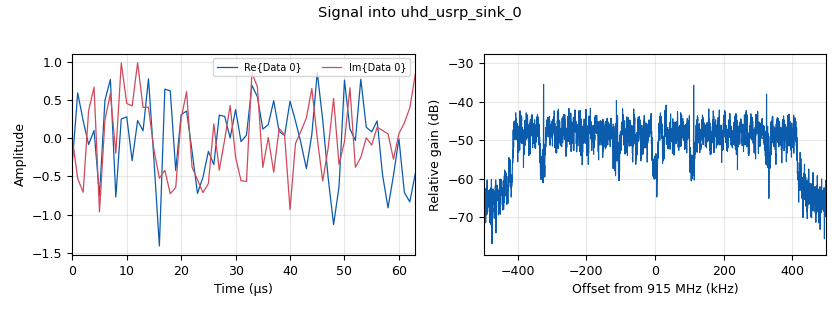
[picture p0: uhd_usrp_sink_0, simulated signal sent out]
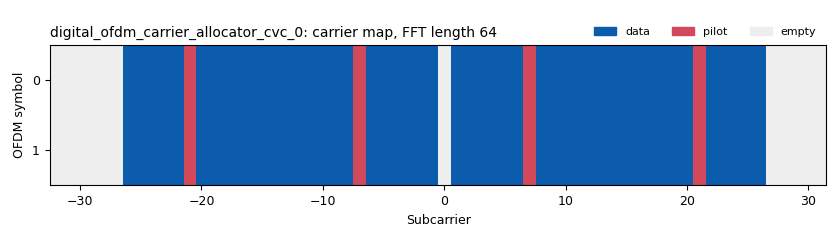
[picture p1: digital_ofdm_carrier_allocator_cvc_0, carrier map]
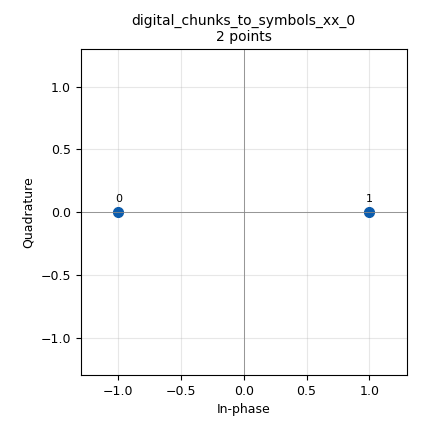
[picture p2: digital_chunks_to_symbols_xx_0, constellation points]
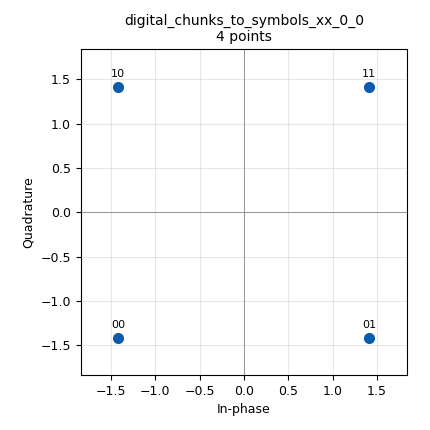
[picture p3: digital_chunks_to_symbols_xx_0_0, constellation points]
options:
  parameters:
    generate_options: qt_gui
    id: packet_ofdm_tx_RF
    output_language: python
    title: packed ofdm example RF TX
  states: {}

blocks:
- name: fft_len
  id: variable
  parameters:
    value: '64'
  states: {}
- name: freq
  id: variable
  parameters:
    value: '915000000'
  states: {}
- name: hdr_format
  id: variable
  parameters:
    value: digital.header_format_ofdm(occupied_carriers, 1, length_tag_key,)
  states: {}
- name: header_equalizer
  id: variable
  parameters:
    value: digital.ofdm_equalizer_simpledfe(fft_len, header_mod.base(), occupied_carriers, pilot_carriers, pilot_symbols)
  states: {}
- name: header_formatter
  id: variable
  parameters:
    value: digital.packet_header_ofdm(occupied_carriers, n_syms=1, len_tag_key=packet_length_tag_key, frame_len_tag_key=length_tag_key_0, bits_per_header_sym=header_mod.bits_per_symbol(), bits_per_payload_sym=payload_mod.bits_per_symbol(), scramble_header=False)
  states: {}
- name: header_mod
  id: variable
  parameters:
    value: digital.constellation_bpsk()
  states: {}
- name: length_tag_key
  id: variable
  parameters:
    value: '"packet_len"'
  states: {}
- name: length_tag_key_0
  id: variable
  parameters:
    value: '"frame_len"'
  states: {}
- name: occupied_carriers
  id: variable
  parameters:
    value: (list(range(-26, -21)) + list(range(-20, -7)) + list(range(-6, 0)) + list(range(1, 7)) + list(range(8, 21)) + list(range(22, 27)),)
  states: {}
- name: packet_len
  id: variable
  parameters:
    value: '96'
  states: {}
- name: packet_length_tag_key
  id: variable
  parameters:
    value: '"packet_len"'
  states: {}
- name: payload_equalizer
  id: variable
  parameters:
    value: digital.ofdm_equalizer_simpledfe(fft_len, payload_mod.base(), occupied_carriers, pilot_carriers, pilot_symbols, 1)
  states: {}
- name: payload_mod
  id: variable
  parameters:
    value: digital.constellation_qpsk()
  states: {}
- name: pilot_carriers
  id: variable
  parameters:
    value: ((-21, -7, 7, 21,),)
  states: {}
- name: pilot_symbols
  id: variable
  parameters:
    value: ((1, 1, 1, -1,),)
  states: {}
- name: rf_gain
  id: variable_qtgui_range
  parameters:
    label: rf gain
    start: '0'
    step: '.5'
    stop: '70'
    value: '20'
  states: {}
- name: rfbw
  id: variable
  parameters:
    value: '4000000'
  states: {}
- name: rolloff
  id: variable
  parameters:
    value: '0'
  states: {}
- name: samp_rate
  id: variable
  parameters:
    value: '1000000'
  states: {}
- name: sync_word1
  id: variable
  parameters:
    value: '[0., 0., 0., 0., 0., 0., 0., 1.41421356, 0., -1.41421356, 0., 1.41421356, 0., -1.41421356, 0., -1.41421356, 0., -1.41421356, 0., 1.41421356, 0., -1.41421356, 0., 1.41421356, 0., -1.41421356, 0., -1.41421356, 0., -1.41421356, 0., -1.41421356, 0., 1.41421356, 0., -1.41421356, 0., 1.41421356, 0., 1.41421356, 0., 1.41421356, 0., -1.41421356, 0., 1.41421356, 0., 1.41421356, 0., 1.41421356, 0., -1.41421356, 0., 1.41421356, 0., 1.41421356, 0., 1.41421356, 0., 0., 0., 0., 0., 0.]'
  states: {}
- name: sync_word2
  id: variable
  parameters:
    value: '[0, 0, 0, 0, 0, 0, -1, -1, -1, -1, 1, 1, -1, -1, -1, 1, -1, 1, 1, 1, 1, 1, -1, -1, -1, -1, -1, 1, -1, -1, 1, -1, 0, 1, -1, 1, 1, 1, -1, 1, 1, 1, -1, 1, 1, 1, 1, -1, 1, -1, -1, -1, 1, -1, 1, -1, -1, -1, -1, 0, 0, 0, 0, 0] '
  states: {}
- name: tx_pwr
  id: variable_qtgui_range
  parameters:
    label: tx power
    start: '0'
    step: '0.01'
    stop: '1'
    value: '.5'
  states: {}
- name: analog_random_source_x_0
  id: analog_random_source_x
  parameters:
    max: '255'
    min: '0'
    num_samps: '1000'
    repeat: 'True'
    type: byte
  states: {}
- name: blocks_multiply_const_vxx_0
  id: blocks_multiply_const_vxx
  parameters:
    const: '0.05'
    type: complex
  states: {}
- name: blocks_repack_bits_bb_0
  id: blocks_repack_bits_bb
  parameters:
    endianness: gr.GR_LSB_FIRST
    k: '8'
    l: payload_mod.bits_per_symbol()
    len_tag_key: length_tag_key
  states: {}
- name: blocks_repack_bits_bb_0_0
  id: blocks_repack_bits_bb
  parameters:
    endianness: gr.GR_LSB_FIRST
    k: '8'
    l: '1'
    len_tag_key: length_tag_key
  states: {}
- name: blocks_stream_to_tagged_stream_0
  id: blocks_stream_to_tagged_stream
  parameters:
    len_tag_key: length_tag_key
    packet_len: packet_len
    type: byte
  states: {}
- name: blocks_tag_gate_0
  id: blocks_tag_gate
  parameters:
    propagate_tags: 'False'
    type: complex
  states: {}
- name: blocks_tagged_stream_mux_0
  id: blocks_tagged_stream_mux
  parameters:
    lengthtagname: length_tag_key
    ninputs: '2'
    type: complex
  states: {}
- name: digital_chunks_to_symbols_xx_0
  id: digital_chunks_to_symbols_xx
  parameters:
    dimension: '1'
    in_type: byte
    out_type: complex
    symbol_table: header_mod.points()
  states: {}
- name: digital_chunks_to_symbols_xx_0_0
  id: digital_chunks_to_symbols_xx
  parameters:
    dimension: '1'
    in_type: byte
    out_type: complex
    symbol_table: payload_mod.points()
  states: {}
- name: digital_crc32_bb_0
  id: digital_crc32_bb
  parameters:
    check: 'False'
    lengthtagname: length_tag_key
    packed: 'True'
  states: {}
- name: digital_ofdm_carrier_allocator_cvc_0
  id: digital_ofdm_carrier_allocator_cvc
  parameters:
    fft_len: fft_len
    len_tag_key: length_tag_key
    occupied_carriers: occupied_carriers
    output_is_shifted: 'True'
    pilot_carriers: pilot_carriers
    pilot_symbols: pilot_symbols
    sync_words: (sync_word1, sync_word2)
  states: {}
- name: digital_ofdm_cyclic_prefixer_0
  id: digital_ofdm_cyclic_prefixer
  parameters:
    cp_len: fft_len//4
    input_size: fft_len
    rolloff: rolloff
    tagname: length_tag_key
  states: {}
- name: digital_protocol_formatter_bb_0
  id: digital_protocol_formatter_bb
  parameters:
    format: hdr_format
    len_tag_key: length_tag_key
  states: {}
- name: fft_vxx_0
  id: fft_vxx
  parameters:
    fft_size: fft_len
    forward: 'False'
    shift: 'True'
    type: complex
    window: ()
  states: {}
- name: header_bits
  id: virtual_sink
  parameters:
    stream_id: Header Bits
  states: {}
- name: import_1
  id: import
  parameters:
    imports: from gnuradio.digital.utils import tagged_streams
  states: {}
- name: uhd_usrp_sink_0
  id: uhd_usrp_sink
  parameters:
    ant0: '"TX/RX"'
    bw0: rfbw
    center_freq0: freq
    dev_addr: '"addr=192.168.10.2"'
    gain0: tx_pwr
    gain_type0: normalized
    samp_rate: samp_rate
    stream_chans: '[1]'
    sync: none
    type: fc32
  states: {}
- name: virtual_sink_0
  id: virtual_sink
  parameters:
    stream_id: Time Domain
  states: {}
- name: virtual_sink_0_0
  id: virtual_sink
  parameters:
    stream_id: Payload Bits
  states: {}
- name: virtual_sink_0_0_0
  id: virtual_sink
  parameters:
    stream_id: Pre-OFDM
  states: {}
- name: virtual_source_0
  id: virtual_source
  parameters:
    stream_id: Header Bits
  states: {}
- name: virtual_source_0_0
  id: virtual_source
  parameters:
    stream_id: Payload Bits
  states: {}
- name: virtual_source_0_0_0
  id: virtual_source
  parameters:
    stream_id: Pre-OFDM
  states: {}
- name: virtual_source_0_0_0_0
  id: virtual_source
  parameters:
    stream_id: Time Domain
  states: {}

connections:
- [analog_random_source_x_0, '0', blocks_stream_to_tagged_stream_0, '0']
- [blocks_multiply_const_vxx_0, '0', blocks_tag_gate_0, '0']
- [blocks_repack_bits_bb_0, '0', virtual_sink_0_0, '0']
- [blocks_repack_bits_bb_0_0, '0', header_bits, '0']
- [blocks_stream_to_tagged_stream_0, '0', digital_crc32_bb_0, '0']
- [blocks_tag_gate_0, '0', uhd_usrp_sink_0, '0']
- [blocks_tagged_stream_mux_0, '0', virtual_sink_0_0_0, '0']
- [digital_chunks_to_symbols_xx_0, '0', blocks_tagged_stream_mux_0, '0']
- [digital_chunks_to_symbols_xx_0_0, '0', blocks_tagged_stream_mux_0, '1']
- [digital_crc32_bb_0, '0', blocks_repack_bits_bb_0, '0']
- [digital_crc32_bb_0, '0', digital_protocol_formatter_bb_0, '0']
- [digital_ofdm_carrier_allocator_cvc_0, '0', fft_vxx_0, '0']
- [digital_ofdm_cyclic_prefixer_0, '0', virtual_sink_0, '0']
- [digital_protocol_formatter_bb_0, '0', blocks_repack_bits_bb_0_0, '0']
- [fft_vxx_0, '0', digital_ofdm_cyclic_prefixer_0, '0']
- [virtual_source_0, '0', digital_chunks_to_symbols_xx_0, '0']
- [virtual_source_0_0, '0', digital_chunks_to_symbols_xx_0_0, '0']
- [virtual_source_0_0_0, '0', digital_ofdm_carrier_allocator_cvc_0, '0']
- [virtual_source_0_0_0_0, '0', blocks_multiply_const_vxx_0, '0']

metadata:
  file_format: 1
